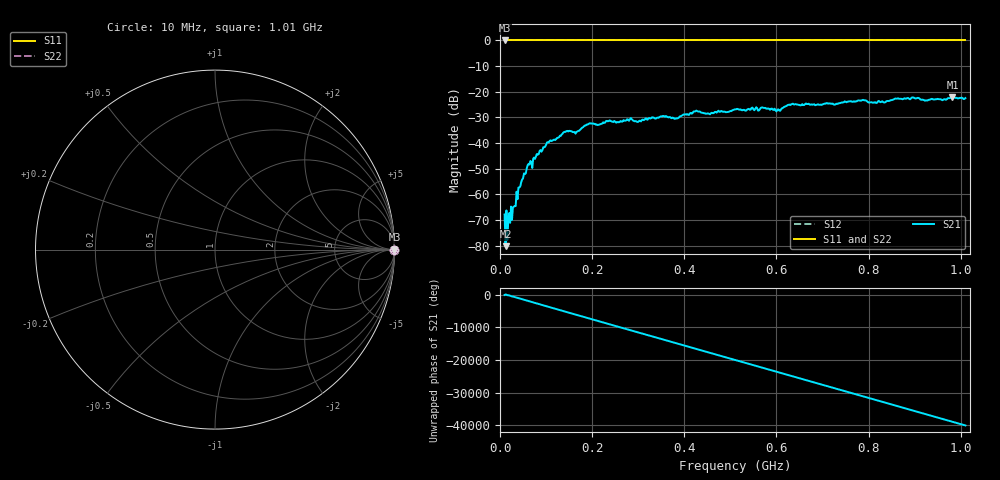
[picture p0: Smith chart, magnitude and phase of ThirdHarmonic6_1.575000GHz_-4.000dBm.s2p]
! 8/16/2025 6:43:57 PM
! C:\ANRITSUVNA\TEMP\TEMP.S2P
! CHANNEL.1
! TR.MEASUREMENT
! RAW.DATA
! RF.CORRECTION.OFF
! AVERAGING.OFF
! IF.BANDWIDTH: 5KHZ
! SWEEPTYPE:  FREQ.SWEEP(Linear)
! Reference Plane Port Info
! PORT:  PORT1  PORT2
! DISTANCE:  0  m  0  m
! TIME:  0  s  0  s
! PHASE.OFFSET:  0  deg.  0  deg.
! LOSS:  0  dB  0  dB
! REF.LOSS:  0  dB  0  dB
! REF.FREQ:  0  Hz  0  Hz
! Power Info
! POWER:  -20  dBm  -20  dBm
! EFF.POWER:  -20  dBm  -20  dBm
! SOURCE.ATTEN:  0  dB  0  dB
! TEST.ATTEN:  0  dB  0  dB
# GHZ S RI R 50.0
! FREQ.GHZ  S11RE  S11IM  S21RE  S21IM  S12RE  S12IM  S22RE  S22IM
!; PortSelection: Port_12
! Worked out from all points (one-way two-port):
!   501 points, 10 MHz to 1.01 GHz, reference 50 ohm
!   highest |S21| = -22.19 dB at 982 MHz (marker M1); lowest = -80.2 dB at 12 MHz (marker M2)
!   lowest |S11| = 0.0 dB at 10 MHz (marker M3)
!   |S11| at or under -10 dB: nowhere
!   |S22| runs from 0.0 to 0.0 dB; largest |S21 - S12| = 1.1
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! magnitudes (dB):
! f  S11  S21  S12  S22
! 10 MHz  0.0  -67.9  0.0  0.0
! 12 MHz  0.0  -80.2  0.0  0.0
! 16 MHz  0.0  -77.9  0.0  0.0
! 30 MHz  0.0  -64.8  0.0  0.0
! 44 MHz  0.0  -56.9  0.0  0.0
! 64 MHz  0.0  -48.4  0.0  0.0
! 106 MHz  0.0  -39.7  0.0  0.0
! 142 MHz  0.0  -35.7  0.0  0.0
! 164 MHz  0.0  -36.3  0.0  0.0
! 178 MHz  0.0  -34.1  0.0  0.0
! 234 MHz  0.0  -31.5  0.0  0.0
! 344 MHz  0.0  -30.2  0.0  0.0
! 382 MHz  0.0  -30.4  0.0  0.0
! 424 MHz  0.0  -27.6  0.0  0.0
! 452 MHz  0.0  -28.5  0.0  0.0
! 510 MHz  0.0  -26.9  0.0  0.0
! 604 MHz  0.0  -26.9  0.0  0.0
! 632 MHz  0.0  -24.9  0.0  0.0
! 678 MHz  0.0  -25.0  0.0  0.0
! 844 MHz  0.0  -23.6  0.0  0.0
! 982 MHz  0.0  -22.2  0.0  0.0
! 1.01 GHz  0.0  -22.5  0.0  0.0
